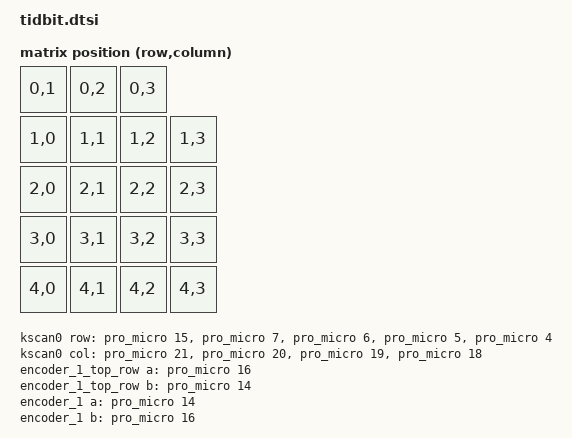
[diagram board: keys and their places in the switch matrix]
/*
 * Copyright (c) 2020 The ZMK Contributors
 *
 * SPDX-License-Identifier: MIT
 */

#include <dt-bindings/zmk/matrix_transform.h>

/ {
    kscan0: kscan {
        compatible = "zmk,kscan-gpio-matrix";
        label = "KSCAN";

        diode-direction = "row2col";

        row-gpios
            = <&pro_micro 15 (GPIO_ACTIVE_HIGH | GPIO_PULL_DOWN)>
            , <&pro_micro 7 (GPIO_ACTIVE_HIGH | GPIO_PULL_DOWN)>
            , <&pro_micro 6 (GPIO_ACTIVE_HIGH | GPIO_PULL_DOWN)>
            , <&pro_micro 5 (GPIO_ACTIVE_HIGH | GPIO_PULL_DOWN)>
            , <&pro_micro 4 (GPIO_ACTIVE_HIGH | GPIO_PULL_DOWN)>
            ;

        col-gpios
            = <&pro_micro 21 (GPIO_ACTIVE_HIGH | GPIO_PULL_DOWN)>
            , <&pro_micro 20 (GPIO_ACTIVE_HIGH | GPIO_PULL_DOWN)>
            , <&pro_micro 19 (GPIO_ACTIVE_HIGH | GPIO_PULL_DOWN)>
            , <&pro_micro 18 (GPIO_ACTIVE_HIGH | GPIO_PULL_DOWN)>
            ;

    };

    default_transform: keymap_transform_0 {
        compatible = "zmk,matrix-transform";
        columns = <4>;
        rows = <5>;

        map = <
            RC(0,1) RC(0,2) RC(0,3)
            RC(1,0) RC(1,1) RC(1,2) RC(1,3)
            RC(2,0) RC(2,1) RC(2,2) RC(2,3)
            RC(3,0) RC(3,1) RC(3,2) RC(3,3)
            RC(4,0) RC(4,1) RC(4,2) RC(4,3)
        >;
    };

    encoder_1_top_row: encoder_1_top_row {
        compatible = "alps,ec11";
        label = "Top Row Encoder";
        a-gpios = <&pro_micro 16 (GPIO_ACTIVE_LOW | GPIO_PULL_UP)>;
        b-gpios = <&pro_micro 14 (GPIO_ACTIVE_LOW | GPIO_PULL_UP)>;
        steps = <80>;
        status = "disabled";
    };

    encoder_1: encoder_1 {
        compatible = "alps,ec11";
        label = "Encoder 1";
        a-gpios = <&pro_micro 14 (GPIO_ACTIVE_LOW | GPIO_PULL_UP)>;
        b-gpios = <&pro_micro 16 (GPIO_ACTIVE_LOW | GPIO_PULL_UP)>;
        steps = <80>;
        status = "disabled";
    };

    encoder_2: encoder_2 {
        compatible = "alps,ec11";
        label = "Encoder 2";
        a-gpios = <&pro_micro 8 (GPIO_ACTIVE_LOW | GPIO_PULL_UP)>;
        b-gpios = <&pro_micro 9 (GPIO_ACTIVE_LOW | GPIO_PULL_UP)>;
        steps = <80>;
        status = "disabled";
    };

    encoder_3: encoder_3 {
        compatible = "alps,ec11";
        label = "Encoder 3";
        a-gpios = <&pro_micro 3 (GPIO_ACTIVE_LOW | GPIO_PULL_UP)>;
        b-gpios = <&pro_micro 2 (GPIO_ACTIVE_LOW | GPIO_PULL_UP)>;
        steps = <80>;
        status = "disabled";
    };

    encoder_4: encoder_4 {
        compatible = "alps,ec11";
        label = "Encoder 4";
        a-gpios = <&pro_micro 1 (GPIO_ACTIVE_LOW | GPIO_PULL_UP)>;
        b-gpios = <&pro_micro 0 (GPIO_ACTIVE_LOW | GPIO_PULL_UP)>;
        steps = <80>;
        status = "disabled";
    };

    chosen {
        zephyr,display = &oled;
        zmk,kscan = &kscan0;
        zmk,matrix_transform = &default_transform;
    };
};

&pro_micro_i2c {
    status = "okay";

    oled: ssd1306@3c {
        compatible = "solomon,ssd1306fb";
        reg = <0x3c>;
        label = "DISPLAY";
        width = <128>;
        height = <32>;
        segment-offset = <0>;
        page-offset = <0>;
        display-offset = <0>;
        multiplex-ratio = <31>;
        segment-remap;
        com-invdir;
        com-sequential;
        prechargep = <0x22>;
    };
};
